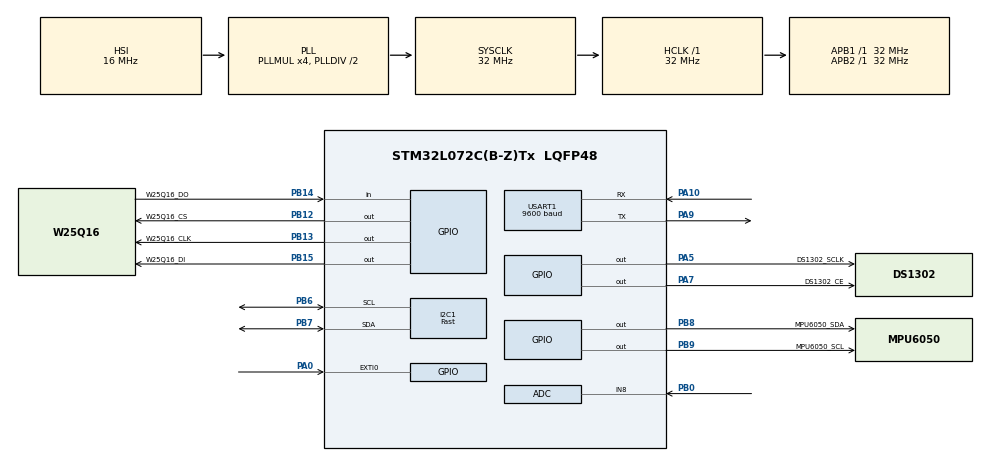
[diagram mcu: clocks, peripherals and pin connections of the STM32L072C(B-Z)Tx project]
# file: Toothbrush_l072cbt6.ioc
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ADC.SamplingTime=ADC_SAMPLETIME_39CYCLES_5
Dma.ADC.0.Direction=DMA_PERIPH_TO_MEMORY
Dma.ADC.0.Instance=DMA1_Channel1
Dma.ADC.0.MemDataAlignment=DMA_MDATAALIGN_HALFWORD
Dma.ADC.0.MemInc=DMA_MINC_ENABLE
Dma.ADC.0.Mode=DMA_CIRCULAR
Dma.ADC.0.PeriphDataAlignment=DMA_PDATAALIGN_HALFWORD
Dma.ADC.0.PeriphInc=DMA_PINC_DISABLE
Dma.ADC.0.Priority=DMA_PRIORITY_HIGH
Dma.Request0=ADC
Dma.Request1=USART1_RX
Dma.USART1_RX.1.Direction=DMA_PERIPH_TO_MEMORY
Dma.USART1_RX.1.Instance=DMA1_Channel3
Dma.USART1_RX.1.MemDataAlignment=DMA_MDATAALIGN_BYTE
Dma.USART1_RX.1.MemInc=DMA_MINC_ENABLE
Dma.USART1_RX.1.Mode=DMA_CIRCULAR
Dma.USART1_RX.1.PeriphDataAlignment=DMA_PDATAALIGN_BYTE
Dma.USART1_RX.1.PeriphInc=DMA_PINC_DISABLE
Dma.USART1_RX.1.Priority=DMA_PRIORITY_LOW
I2C1.I2C_Speed_Mode=I2C_Fast
I2C1.Timing=0x00300F38
Mcu.Family=STM32L0
Mcu.Name=STM32L072C(B-Z)Tx
Mcu.Package=LQFP48
NVIC.DMA1_Channel1_IRQn=true\:0\:0\:false\:false\:true\:false\:true\:true
NVIC.DMA1_Channel2_3_IRQn=true\:0\:0\:false\:false\:true\:false\:true\:true
NVIC.EXTI0_1_IRQn=true\:2\:0\:true\:false\:true\:true\:true\:true
NVIC.TIM2_IRQn=true\:1\:0\:true\:false\:true\:true\:true\:true
NVIC.USART1_IRQn=true\:0\:0\:false\:false\:true\:true\:true\:true
PA0.GPIO_PuPd=GPIO_PULLUP
PA0.Signal=GPXTI0
PA10.GPIO_ModeDefaultPP=GPIO_MODE_AF_OD
PA10.GPIO_Speed=GPIO_SPEED_FREQ_VERY_HIGH
PA10.Mode=Asynchronous
PA10.Signal=USART1_RX
PA13.Mode=Serial_Wire
PA13.Signal=SYS_SWDIO
PA14.Mode=Serial_Wire
PA14.Signal=SYS_SWCLK
PA5.GPIO_Label=DS1302_SCLK
PA5.GPIO_Speed=GPIO_SPEED_FREQ_HIGH
PA5.Signal=GPIO_Output
PA7.GPIO_Label=DS1302_CE
PA7.GPIO_Speed=GPIO_SPEED_FREQ_HIGH
PA7.Signal=GPIO_Output
PA9.GPIO_Speed=GPIO_SPEED_FREQ_VERY_HIGH
PA9.Mode=Asynchronous
PA9.Signal=USART1_TX
PB0.Mode=IN8
PB0.Signal=ADC_IN8
PB12.GPIO_Label=W25Q16_CS
PB12.GPIO_Speed=GPIO_SPEED_FREQ_HIGH
PB12.Signal=GPIO_Output
PB13.GPIO_Label=W25Q16_CLK
PB13.GPIO_Speed=GPIO_SPEED_FREQ_HIGH
PB13.Signal=GPIO_Output
PB14.GPIO_Label=W25Q16_DO
PB14.Signal=GPIO_Input
PB15.GPIO_Label=W25Q16_DI
PB15.GPIO_Speed=GPIO_SPEED_FREQ_HIGH
PB15.Signal=GPIO_Output
PB6.Mode=I2C
PB6.Signal=I2C1_SCL
PB7.Mode=I2C
PB7.Signal=I2C1_SDA
PB8.GPIO_Label=MPU6050_SDA
PB8.GPIO_Speed=GPIO_SPEED_FREQ_HIGH
PB8.Signal=GPIO_Output
PB9.GPIO_Label=MPU6050_SCL
PB9.GPIO_Speed=GPIO_SPEED_FREQ_HIGH
PB9.Signal=GPIO_Output
PH0-OSC_IN.Mode=HSE-External-Oscillator
PH0-OSC_IN.Signal=RCC_OSC_IN
PH1-OSC_OUT.Mode=HSE-External-Oscillator
PH1-OSC_OUT.Signal=RCC_OSC_OUT
ProjectManager.HeapSize=0x200
ProjectManager.StackSize=0x400
ProjectManager.TargetToolchain=MDK-ARM V5.32
RCC.AHBFreq_Value=32000000
RCC.APB1Freq_Value=32000000
RCC.APB1TimFreq_Value=32000000
RCC.APB2Freq_Value=32000000
RCC.APB2TimFreq_Value=32000000
RCC.HCLKFreq_Value=32000000
RCC.HSE_VALUE=8000000
RCC.HSI16_VALUE=16000000
RCC.HSI48_VALUE=48000000
RCC.HSI_VALUE=16000000
RCC.LSE_VALUE=32768
RCC.MSI_VALUE=2097000
RCC.PLLMUL=RCC_PLLMUL_4
RCC.SYSCLKFreq_VALUE=32000000
RCC.SYSCLKSource=RCC_SYSCLKSOURCE_PLLCLK
RCC.VCOOutputFreq_Value=64000000
TIM2.AutoReloadPreload=TIM_AUTORELOAD_PRELOAD_ENABLE
TIM2.Period=1000-1
TIM2.Prescaler=32-1
USART1.BaudRate=9600
USART1.VirtualMode-Asynchronous=VM_ASYNC
VP_TIM2_VS_ClockSourceINT.Mode=Internal
board=custom

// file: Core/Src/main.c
/* USER CODE BEGIN Header */
/**
  ******************************************************************************
  * @file           : main.c
  * @brief          : Main program body
  ******************************************************************************
  * @attention
  *
  * Copyright (c) 2024 STMicroelectronics.
  * All rights reserved.
  *
  * This software is licensed under terms that can be found in the LICENSE file
  * in the root directory of this software component.
  * If no LICENSE file comes with this software, it is provided AS-IS.
  *
  ******************************************************************************
  */
/* USER CODE END Header */
#include "main.h"
#include "adc.h"
#include "dma.h"
#include "i2c.h"
#include "tim.h"
#include "usart.h"
#include "gpio.h"

/* USER CODE BEGIN Includes */
#include "IIC.h"
#include "mpu6050.h"
#include "inv_mpu.h"
#include "inv_mpu_dmp_motion_driver.h"
#include "stdio.h"
#include "string.h"
#include "math.h"
#include "Anonymous.h"
//#include "Kalman.h"
#include "Read_attitude.h"
#include "Percentage_res.h"
//#include "oled.h"
//#include "oledfont.h"
#include "KEY.h"
#include "Interface.h"
#include "DS1302.h"
#include "Show_DS1302_Data.h"
#include "W25Q16.h"
#include "W25Q16_Ins.h"
#include "DS1302_to_Timestamp.h"
/* USER CODE END Includes */

/* USER CODE BEGIN PTD */
  float pitch,roll,yaw; 		    //y-?
  short aacx,aacy,aacz;			//???????'??
  short gyrox,gyroy,gyroz;		//G???'??
	float	Accel_Angle_x ,Accel_Angle_y;
  extern float roll_kalman ;
	extern uint8_t Grame[8][128] ;

/* USER CODE END PTD */

/* USER CODE BEGIN PD */
extern uint8_t RxBuffer[1];//??????
uint16_t P,I,D;
	float t1 = 0;
	float t2 = 0;
uint16_t ADC_Value[4];
uint32_t RES_value;
float Voltage_value;
uint8_t Key_num=0;
uint8_t Switch_Interface=0;

int  Percentage_tx;

uint8_t MID;  //工厂ID
uint16_t DID;//设备ID

uint8_t arrWrite[] = { 0,0,0,0 };//要写入的数据
uint8_t arrRead[10];  //存储读取到的数据的数组
extern uint32_t Timestamp_DS1302;//DS1302实时时间转变为时间戳的变量
extern struct TX_TIMEData TX_TimeData;
uint8_t one_second_flag=0;
uint8_t arr_time_write[4]={0};
uint8_t arr_time_read[4]={0};
uint8_t Addr_time_write = 0;//写时间进入w25q16的地址
uint8_t Addr_time_read = 0; //从w25q16读时间的地址
uint8_t Read_W25Q16_Data[1];//从串口助手读数据的标志位
uint8_t Read_W25Q16_Data_finish=0;;//读数据完成的标志位
char msg[] = "Hello, world!";
uint8_t BackData[1];
extern uint16_t cnt_printf;
extern uint32_t Read_currentAddress;
uint8_t Continue_send=0;

extern uint8_t angle_stable_flag; //角度稳定标志位
extern uint8_t angle_stable_flag_3sec; //五秒角度稳定标志位
extern uint32_t Read_FinalAddress ;  // 数据存储的最后一个地址
uint8_t mpu6050_motion_interrupt_status = 0;//mpu6050运动检测状态变量
uint8_t is_low_power_mode = 0;//用于标记是否进入低功耗模式
uint8_t CheckAngle_flag = 0;
extern uint16_t cnt_Write_data;//只记录cnt_test秒的数据
uint8_t Times_interrupt=0;//读取地址达到最大时，进入中断的次数
uint8_t Times_interrupt_max_flag=0;//读取地址达到最大时，进入中断的次数
extern uint8_t Finish_print_flag ;
extern uint8_t Conclusion_print_Cnt ;
extern uint8_t Fisrt_print_flag;
//内存已满标志位
extern uint8_t Memory_Full_flag ;
uint16_t cnt_test_l072 ;
uint8_t cnt_test_sec ;
//读取出来的重量的变量，单位为 g
extern float  Read_weight_g ;
//读取的力的变量 ，单位为 N
extern float  Read_Force_N;

/* USER CODE END PD */

void SystemClock_Config(void);

/* USER CODE BEGIN 0 */
int fputc(int c,FILE *stream)
{
	uint8_t ch[1]={c};
	HAL_UART_Transmit(&huart1,ch,1,0xFFFF);
	return c;
}

void HAL_TIM_PeriodElapsedCallback(TIM_HandleTypeDef *htim)
{

	  static uint16_t cnt_tim = 0,cnt_mpu6050_check=0;//定时器计数变量
		static uint8_t cnt_angle_stable = 0;
		if (htim == (&htim2))
    {
			cnt_mpu6050_check++;
			cnt_tim++;
			if(cnt_mpu6050_check == 100)//半秒
			{
				cnt_mpu6050_check = 0;
				//如果angle_stable_flag是1，angle_stable_flag_5sec为0，则说明之前处于不稳定状态
				if(angle_stable_flag == 1&& angle_stable_flag_3sec!=1)
				{
					cnt_angle_stable ++;
					if(cnt_angle_stable>1)
					{
						angle_stable_flag_3sec = 1;//超过5秒，标志位置一
						cnt_angle_stable = 0;
					}
					else
					{
						angle_stable_flag_3sec = 0;
					}
				}
				else if(angle_stable_flag == 1&& angle_stable_flag_3sec==1)//如果两个都是1，则说明一直处于稳定状态
				{
					angle_stable_flag_3sec = 1;
				}
				else //如果angle_stable_flag为0，则	angle_stable_flag_5sec为0，且	cnt_angle_stable清零
					cnt_angle_stable = 0;//如果未达到平衡要求，将计数值清0

			}
			if(cnt_tim == 100)//一秒
			{
				cnt_tim = 0;
				one_second_flag = 1;
//				W25Q16_SectorErase(0x000000);//扇区的地址取决于前三位,后面三位无论怎么变都是同一个扇区
//				W25Q16_PageProgram(0x000000, arrWrite, 4);//写入
//				W25Q16_ReadData(0x000000, arrRead, 10);//读取
//					HAL_UART_Transmit(&huart1, (uint8_t*)msg, strlen(msg), 1000);
			}

    }
}

void HAL_UART_RxCpltCallback(UART_HandleTypeDef *huart)
{
    if (huart == &huart1 )

		{
		 //打开中断
		 HAL_UART_Receive_IT(&huart1,(uint8_t *)Read_W25Q16_Data,1);
		 //判断接收的数据
		 //串口发送‘0’用于打印数据，发送‘1’用于清0数据。
		 if(Read_W25Q16_Data[0] == '0')
		 {
			 Continue_send = 1;
//			 MPU_Write_Byte(MPU_INT_EN_REG,0X00);	//关闭所有中断	，当打印完后打开中断
//			 memset(Read_W25Q16_Data, 0, 1);//清空数组数据
		 }
     else if(Read_W25Q16_Data[0] == '1')
		 {
			 //当打印完一次后，才可以清0,打印过程中不触发中断
			 if(Finish_print_flag == 1)
							MPU_Write_Byte(MPU_INT_EN_REG,0X00);	//关闭所有中断
			 Conclusion_print_Cnt = 0;//置零，以便下次打印可以发送结束语
			 //串口发送‘1’，将变量清零，串口再发送‘0’，重新打印。
			 Finish_print_flag = 0;//清零，用于判断下次打印的打印情况
			 cnt_printf = 0;       //测试打印的次数，清零，方便下次打印的次数限制
			 Read_currentAddress = 0;//清零，从首地址读取数据
			 Continue_send = 0;			 //清零，方便接收’0‘时才再次打印。
//			 memset(Read_W25Q16_Data, 0, 1);//清空数组数据
		 }
		 else
		 {//收到其他数据，关闭中断检测，不然发送‘0’和‘1’时，如果接受失败，会一直触发中断，也不会出现打印一半进入睡眠
			  MPU_Write_Byte(MPU_INT_EN_REG,0X00);	//关闭所有中断
//				memset(Read_W25Q16_Data, 0, 1);//清空数组数据
		 }
		 HAL_UART_Transmit(&huart1,(uint8_t *)Read_W25Q16_Data,1,100);

			//        HAL_UART_Receive_IT(&huart1, (uint8_t *)Read_W25Q16_Data, sizeof (Read_W25Q16_Data)); //???????,???????????,???????????????
//						MPU_INT_Init();	//运动中断检测 ——寄存器配置
    }

}

void HAL_GPIO_EXTI_Callback(uint16_t GPIO_Pin)
{
 if (GPIO_Pin == GPIO_PIN_0)
    {
			//如果mpu6050进入中断，将运动状态标志位置一
			mpu6050_motion_interrupt_status = 1;
		}

}
/* USER CODE END 0 */

int main(void)
{

  /* MCU Configuration--------------------------------------------------------*/

  /* Reset of all peripherals, Initializes the Flash interface and the Systick. */
  HAL_Init();

  /* Configure the system clock */
  SystemClock_Config();

  /* Initialize all configured peripherals */
  MX_GPIO_Init();
  MX_DMA_Init();
  MX_ADC_Init();
  MX_USART1_UART_Init();
  MX_TIM2_Init();
  MX_I2C1_Init();
  /* USER CODE BEGIN 2 */

  W25Q16_Init	();
//	DS1302_Init();//初始化时间日期
//	DS1302_read_realTime();//读取实时时间
	MPU_Init();			//MPU6050?'?
	mpu_dmp_init();		//dmp?'?
  MPU_INT_Init();	//运动中断检测 ——寄存器配置

	HAL_TIM_Base_Start_IT(&htim2);//1ms定时器中断
  HAL_UART_Receive_IT(&huart1,(uint8_t *)Read_W25Q16_Data,1);//
//  HAL_UART_Receive_DMA(&huart1,(uint8_t *)Read_W25Q16_Data,1);//

//	   HAL_UART_Receive_IT(&huart1 ,(uint8_t *)BackData,1);

//  OLED_Init();                           //OLED初始
//  OLED_Clear();                         //清屏
//  OLED_WR_CMD(0x2e);//停止滚动
  /* USER CODE END 2 */

  /* Infinite loop */
  while (1)
  {

    /* USER CODE BEGIN 3 */
//		CheckAngle_flag = CheckAngleStability();
			 if(Finish_print_flag == 0&&Fisrt_print_flag == 1)//如果第一次未打印，或之后还未打印完，关闭中断检测
			 {
					MPU_Write_Byte(MPU_INT_EN_REG,0X00);	//关闭所有中断
					mpu6050_motion_interrupt_status = 0;
			 }

			 //如果内存未存满，此时还可以进入睡眠模式，当将数据打印了出来后，定时器要打开，不然不会再进入角度判断。
				//适合测试用
//			 else if(Read_currentAddress >=Max_Set_Read_ARRAY&&Read_currentAddress < W25Q16_FLASH_SIZE)
//			 {
//				 HAL_TIM_Base_Start_IT(&htim2);//初始化
//			 }
			 //打印完毕，如果内存存满或者没有存满，都关闭定时器，防止没存满时，打印一次完毕之后，如果摇动mpu6050，会再次记录数据
				//也不会再次进入睡眠模式。
			 //但是如果断电复位会清零，如果薄膜压力传感器没达到一定值，则不会记录
			 else if(Finish_print_flag == 1)
			 {
				 HAL_TIM_Base_Stop_IT(&htim2);	//关闭定时器中断
			 }

			 if(mpu6050_motion_interrupt_status == 1)
			{
//				  if(Times_interrupt_max_flag == 0)
//				      Times_interrupt++;
					printf("MPU6050 motion interrupt detected!\n");
//				HAL_UART_Receive_IT(&huart1,(uint8_t *)Read_W25Q16_Data,1);
//					printf("%2d\n",Read_W25Q16_Data[0]);//一秒打印一次
				 HAL_TIM_Base_Start_IT(&htim2);//初始化
				 mpu6050_motion_interrupt_status = 0;
			 }

//		if(CheckAngleStability() == 1)
//		{
////			mpu6050_motion_interrupt_status = 0;
//			MPU_Write_Byte(MPU_PWR_MGMT1_REG,0x28);//低功耗模式  循环模式
//			MPU_Write_Byte(MPU_PWR_MGMT2_REG,0x87);		//设置唤醒频率
//		}
//				DS1302_read_realTime();//获取时间值
//HAL_UART_Transmit(&huart1, (uint8_t*)msg, strlen(msg), 1000);
//			printf("%2d ,%2d  ,%2d\n",0 ,1 ,2);//一秒打印一次

//		HAL_UART_Receive(&huart1,(uint8_t *)Read_W25Q16_Data,1,10);

#if  0
{
			W25Q16_ChipErase();//全部擦除内存
			Memory_Full_flag = 0;//擦除内存，内存已满标志位清0
//			W25Q16_SectorErase(0x000000);//扇区的地址取决于前三位,后面三位无论怎么变都是同一个扇区
//			W25Q16_SectorErase(0x001000);//扇区的地址取决于前三位,后面三位无论怎么变都是同一个扇区
//			W25Q16_SectorErase(0x002000);//扇区的地址取决于前三位,后面三位无论怎么变都是同一个扇区
//			W25Q16_SectorErase(0x003000);//扇区的地址取决于前三位,后面三位无论怎么变都是同一个扇区
}
#elif 1
{
			Write_Data_Once_second();
		 //串口发送‘0’用于打印数据，发送‘1’用于清0数据。
//		 if(Read_W25Q16_Data[0] == '0')
//		 {
//			 Continue_send = 1;
//			 MPU_Write_Byte(MPU_INT_EN_REG,0X00);	//关闭所有中断	，当打印完后打开中断
//			 memset(Read_W25Q16_Data, 0, 1);//清空数组数据
//		 }
//     else if(Read_W25Q16_Data[0] == '1')
//		 {
//			 //当打印完一次后，才可以清0,打印过程中不触发中断
//			 if(Finish_print_flag == 1)
//							MPU_Write_Byte(MPU_INT_EN_REG,0X00);	//关闭所有中断
//			 Conclusion_print_Cnt = 0;//置零，以便下次打印可以发送结束语
//			 //串口发送‘1’，将变量清零，串口再发送‘0’，重新打印。
//			 Finish_print_flag = 0;//清零，用于判断下次打印的打印情况
//			 cnt_printf = 0;       //测试打印的次数，清零，方便下次打印的次数限制
//			 Read_currentAddress = 0;//清零，从首地址读取数据
//			 Continue_send = 0;			 //清零，方便接收’0‘时才再次打印。
//			 memset(Read_W25Q16_Data, 0, 1);//清空数组数据
//		 }
//		 else
//		 {//收到其他数据，关闭中断检测，不然发送‘0’和‘1’时，如果接受失败，会一直触发中断，也不会出现打印一半进入睡眠
//			  MPU_Write_Byte(MPU_INT_EN_REG,0X00);	//关闭所有中断
//				memset(Read_W25Q16_Data, 0, 1);//清空数组数据
//		 }
      if(Continue_send == 1)//持续发送数据
			{
				//加这一行可以使打印时不会在数据包与数据包之间打印出MPU6050 motion interrupt detected!
				MPU_Write_Byte(MPU_INT_EN_REG,0X00);	//关闭所有中断
				Times_interrupt_max_flag = 0;//等到开始打印，才将标志位置0.
			  Read_data_to_printf();
			}

}

#endif

//		Read_Timestamp();
//		Read_Tx_Time(Timestamp_DS1302);
//		OLED_ShowNumber_Fast(50,30,0,3,16,0);
//		Show_W25Q16_Data();
//		Key_num = KEY_Scan();
//		if(Key_num == 1)
//		{
//			Switch_Interface++;
//			if(Switch_Interface>3)
//			{
//				Switch_Interface =0;
//			}
//		}
//		if(Switch_Interface == 0)
//			Angle_Interface();
//		else if(Switch_Interface == 1)
//			Gyro_Interface();
//		else if(Switch_Interface == 2)
//			Acc_Interface();
//		else if(Switch_Interface == 3)
//			RES_Interface();

//		Read_attitude();
//		Percentage_tx = Percentage_res();
//			//将电压转换为电阻
//			RES_value = ((Voltage_value*4095/3.3)*10000/(4095-(Voltage_value*4095/3.3)))-1000;
//			//将电阻转换为重量
//			if((1000.0f/RES_value)>0&&(1000.0f/RES_value)<0.195)
//			{
//				Read_weight_g = 1896*(1000.0f/RES_value)-64;//公式1，看薄膜压力传感器说明书
//			}
//			else if((1000.0f/RES_value)>0.195)
//			{
//				Read_weight_g = 3810*(1000.0f/RES_value)-443;//公式2
//			}
//			//将重量转换为力
//			Read_Force_N = Read_weight_g*0.2941/250;
//		sent_data1(-roll*100,-pitch*100,-yaw*100,9);//串口发送数据到匿名上位机
//      printf("%2d ,%2d  ,%2d\n",TX_TimeData.hour ,TX_TimeData.minute ,TX_TimeData.second);

//      printf("%2d ,%2d  ,%2d\n",TimeData.hour ,TimeData.minute ,TimeData.second);
//			HAL_Delay (1000);

  }
  /* USER CODE END 3 */
}

void SystemClock_Config(void)
{
  RCC_OscInitTypeDef RCC_OscInitStruct = {0};
  RCC_ClkInitTypeDef RCC_ClkInitStruct = {0};
  RCC_PeriphCLKInitTypeDef PeriphClkInit = {0};

  /** Configure the main internal regulator output voltage
  */
  __HAL_PWR_VOLTAGESCALING_CONFIG(PWR_REGULATOR_VOLTAGE_SCALE1);

  /** Initializes the RCC Oscillators according to the specified parameters
  * in the RCC_OscInitTypeDef structure.
  */
  RCC_OscInitStruct.OscillatorType = RCC_OSCILLATORTYPE_HSI;
  RCC_OscInitStruct.HSIState = RCC_HSI_ON;
  RCC_OscInitStruct.HSICalibrationValue = RCC_HSICALIBRATION_DEFAULT;
  RCC_OscInitStruct.PLL.PLLState = RCC_PLL_ON;
  RCC_OscInitStruct.PLL.PLLSource = RCC_PLLSOURCE_HSI;
  RCC_OscInitStruct.PLL.PLLMUL = RCC_PLLMUL_4;
  RCC_OscInitStruct.PLL.PLLDIV = RCC_PLLDIV_2;
  if (HAL_RCC_OscConfig(&RCC_OscInitStruct) != HAL_OK)
  {
    Error_Handler();
  }

  /** Initializes the CPU, AHB and APB buses clocks
  */
  RCC_ClkInitStruct.ClockType = RCC_CLOCKTYPE_HCLK|RCC_CLOCKTYPE_SYSCLK
                              |RCC_CLOCKTYPE_PCLK1|RCC_CLOCKTYPE_PCLK2;
  RCC_ClkInitStruct.SYSCLKSource = RCC_SYSCLKSOURCE_PLLCLK;
  RCC_ClkInitStruct.AHBCLKDivider = RCC_SYSCLK_DIV1;
  RCC_ClkInitStruct.APB1CLKDivider = RCC_HCLK_DIV1;
  RCC_ClkInitStruct.APB2CLKDivider = RCC_HCLK_DIV1;

  if (HAL_RCC_ClockConfig(&RCC_ClkInitStruct, FLASH_LATENCY_1) != HAL_OK)
  {
    Error_Handler();
  }
  PeriphClkInit.PeriphClockSelection = RCC_PERIPHCLK_USART1|RCC_PERIPHCLK_I2C1;
  PeriphClkInit.Usart1ClockSelection = RCC_USART1CLKSOURCE_PCLK2;
  PeriphClkInit.I2c1ClockSelection = RCC_I2C1CLKSOURCE_PCLK1;
  if (HAL_RCCEx_PeriphCLKConfig(&PeriphClkInit) != HAL_OK)
  {
    Error_Handler();
  }
}

void Error_Handler(void)
{
  __disable_irq();
  while (1)
  {
  }
}
